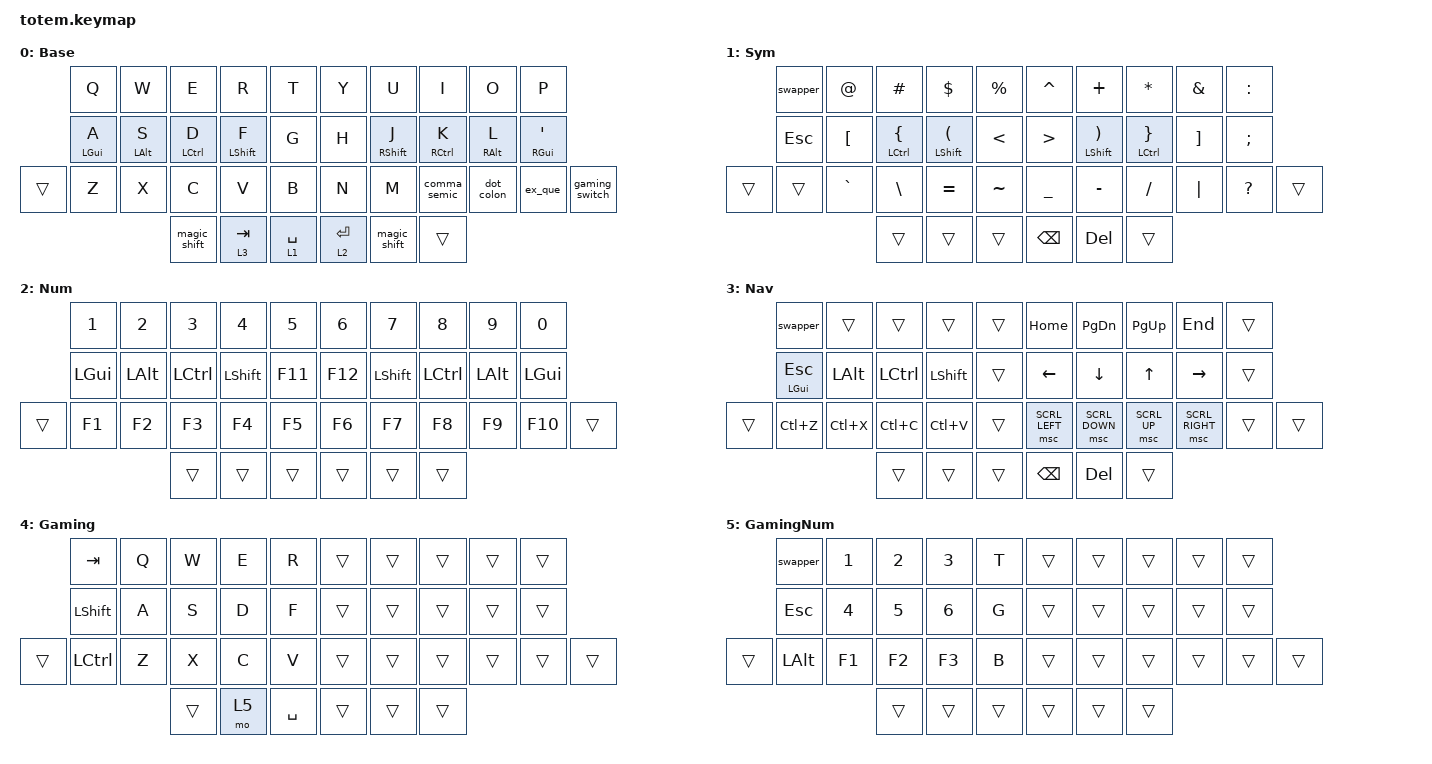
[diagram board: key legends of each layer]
#include <input/processors.dtsi>
#include "zmk-helpers/helper.h"
#include "zmk-helpers/key-labels/totem.h"
#include <behaviors.dtsi>
#include <dt-bindings/zmk/keys.h>
#include <dt-bindings/zmk/pointing.h>

#define KEYS_L LT0 LT1 LT2 LT3 LT4 LM0 LM1 LM2 LM3 LM4 LB0 LB1 LB2 LB3 LB4
#define KEYS_R RT0 RT1 RT2 RT3 RT4 RM0 RM1 RM2 RM3 RM4 RB0 RB1 RB2 RB3 RB4
#define THUMBS LH2 LH1 LH0 RH0 RH1 RH2
#define ZMK_POINTING_DEFAULT_MOVE_VAL 3000
#define ZMK_POINTING_DEFAULT_SCRL_VAL 30

&sk {
    release-after-ms = <900>;
    quick-release;
};

&sl { ignore-modifiers; };

&mt {
    flavor = "tap-preferred";
    tapping-term-ms = <220>;
    quick-tap-ms = <220>;
    hold-trigger-key-positions = <0>;
};

&lt {
    flavor = "balanced";
    quick-tap-ms = <175>;
    tapping-term-ms = <200>;
};

&mmv {
    acceleration-exponent = <1>;          // 1
    time-to-max-speed-ms = <500>;         // 300
    delay-ms = <0>;                       // 0
};

&msc {
    acceleration-exponent = <0>;          // 0
    time-to-max-speed-ms = <300>;         // 300
    delay-ms = <0>;                       // 0
};

&mmv_input_listener {
    warp {
        layers = <2>;
        input-processors = <&zip_xy_scaler 3 1>;
    };

    precision {
        layers = <4>;
        input-processors = <&zip_xy_scaler 1 2>;
    };
};

/ {
    zip_scroll_scaler: zip_scroll_scaler {
        compatible = "zmk,input-processor-scaler";
        #input-processor-cells = <2>;
        type = <INPUT_EV_REL>;
        codes = <INPUT_REL_WHEEL INPUT_REL_HWHEEL>;
        track-remainders;
    };
};

/ {
    behaviors {
        hml: home_row_mod_left {
            compatible = "zmk,behavior-hold-tap";
            #binding-cells = <2>;
            flavor = "balanced";
            require-prior-idle-ms = <150>;
            tapping-term-ms = <280>;
            quick-tap-ms = <175>;
            bindings = <&kp>, <&kp>;

            hold-trigger-key-positions = <KEYS_R THUMBS>;
            hold-trigger-on-release;
        };

        hmr: home_row_mod_right {
            compatible = "zmk,behavior-hold-tap";
            #binding-cells = <2>;
            flavor = "balanced";
            require-prior-idle-ms = <150>;
            tapping-term-ms = <280>;
            quick-tap-ms = <175>;
            bindings = <&kp>, <&kp>;

            hold-trigger-key-positions = <KEYS_L THUMBS>;
            hold-trigger-on-release;
        };

        comma_semic: comma_semic {
            compatible = "zmk,behavior-mod-morph";
            label = "COMMA_SEMIC";
            bindings = <&kp COMMA>, <&kp SEMI>;

            #binding-cells = <0>;
            mods = <(MOD_LSFT)>;
        };

        dot_colon: dot_colon {
            compatible = "zmk,behavior-mod-morph";
            label = "DOT_COLON";
            bindings = <&kp DOT>, <&kp COLON>;

            #binding-cells = <0>;
            mods = <(MOD_LSFT)>;
        };

        ex_que: ex_que {
            compatible = "zmk,behavior-mod-morph";
            label = "EX_QUE";
            bindings = <&kp EXCLAMATION>, <&kp QUESTION>;

            #binding-cells = <0>;
            mods = <(MOD_LSFT)>;
        };

        gaming_switch: gaming_switch {
            compatible = "zmk,behavior-tap-dance";
            label = "GAMING_SWITCH";
            #binding-cells = <0>;
            bindings = <&to 0>, <&to 4>;
        };

        swapper: swapper {
            compatible = "zmk,behavior-tri-state";
            #binding-cells = <0>;
            bindings = <&kt LALT>, <&kp TAB>, <&kt LALT>;

            ignored-key-positions = <LT2 RT2 RM1 RM2 RM3>;
        };

        hold_sticky: hold_sticky {
            compatible = "zmk,behavior-hold-tap";
            label = "HOLD_STICKY";
            bindings = <&kp>, <&sk>;

            #binding-cells = <2>;
            tapping-term-ms = <200>;
        };

        magic_shift: magic_shift {
            compatible = "zmk,behavior-tap-dance";
            label = "MAGIC_SHIFT";
            #binding-cells = <0>;
            bindings = <&hold_sticky LSHIFT LSHIFT>, <&caps_word>;
        };
    };

    combos { compatible = "zmk,combos"; };

    keymap {
        compatible = "zmk,keymap";

        Base {
            display-name = "Base";
            bindings = <
        &kp Q        &kp W        &kp E         &kp R          &kp T          &kp Y        &kp U         &kp I         &kp O        &kp P
        &hml LGUI A  &hml LALT S  &hml LCTRL D  &hml LSHIFT F  &kp G          &kp H        &hmr RSHFT J  &hmr RCTRL K  &hmr RALT L  &hmr RGUI SINGLE_QUOTE
&trans  &kp Z        &kp X        &kp C         &kp V          &kp B          &kp N        &kp M         &comma_semic  &dot_colon   &ex_que                 &gaming_switch
                                  &magic_shift  &lt 3 TAB      &lt 1 SPACE    &lt 2 ENTER  &magic_shift  &trans
            >;
        };

        Sym {
            bindings = <
        &swapper  &kp AT     &kp HASH         &kp DLLR         &kp PRCNT    &kp CARET      &kp PLUS          &kp ASTRK        &kp AMPERSAND  &kp COLON
        &kp ESC   &kp LBKT   &hml LCTRL LBRC  &hml LSHFT LPAR  &kp LT       &kp GT         &hmr LSHIFT RPAR  &hmr LCTRL RBRC  &kp RBKT       &kp SEMI
&trans  &trans    &kp GRAVE  &kp BSLH         &kp EQUAL        &kp TILDE    &kp UNDER      &kp MINUS         &kp SLASH        &kp PIPE       &kp QUESTION  &trans
                             &trans           &trans           &trans       &kp BACKSPACE  &kp DEL           &trans
            >;
        };

        Num {
            bindings = <
        &kp N1    &kp N2    &kp N3     &kp N4     &kp N5     &kp N6   &kp N7      &kp N8     &kp N9    &kp N0
        &kp LGUI  &kp LALT  &kp LCTRL  &kp LSHFT  &kp F11    &kp F12  &kp LSHIFT  &kp LCTRL  &kp LALT  &kp LGUI
&trans  &kp F1    &kp F2    &kp F3     &kp F4     &kp F5     &kp F6   &kp F7      &kp F8     &kp F9    &kp F10   &trans
                            &trans     &trans     &trans     &trans   &trans      &trans
            >;
        };

        Nav {
            bindings = <
        &swapper         &trans     &trans     &trans      &trans    &kp HOME        &kp PG_DN       &kp PG_UP     &kp END          &trans
        &mt LGUI ESCAPE  &kp LALT   &kp LCTRL  &kp LSHIFT  &trans    &kp LEFT        &kp DOWN        &kp UP        &kp RIGHT        &trans
&trans  &kp LC(Z)        &kp LC(X)  &kp LC(C)  &kp LC(V)   &trans    &msc SCRL_LEFT  &msc SCRL_DOWN  &msc SCRL_UP  &msc SCRL_RIGHT  &trans  &trans
                                    &trans     &trans      &trans    &kp BACKSPACE   &kp DELETE      &trans
            >;
        };

        Gaming {
            bindings = <
        &kp TAB    &kp Q  &kp W   &kp E  &kp R        &trans  &trans  &trans  &trans  &trans
        &kp LSHFT  &kp A  &kp S   &kp D  &kp F        &trans  &trans  &trans  &trans  &trans
&trans  &kp LCTRL  &kp Z  &kp X   &kp C  &kp V        &trans  &trans  &trans  &trans  &trans  &trans
                          &trans  &mo 5  &kp SPACE    &trans  &trans  &trans
            >;
        };

        GamingNum {
            bindings = <
        &swapper      &kp N1  &kp N2  &kp N3  &kp T     &trans  &trans  &trans  &trans  &trans
        &kp ESC       &kp N4  &kp N5  &kp N6  &kp G     &trans  &trans  &trans  &trans  &trans
&trans  &kp LEFT_ALT  &kp F1  &kp F2  &kp F3  &kp B     &trans  &trans  &trans  &trans  &trans  &trans
                              &trans  &trans  &trans    &trans  &trans  &trans
            >;
        };
    };
};
